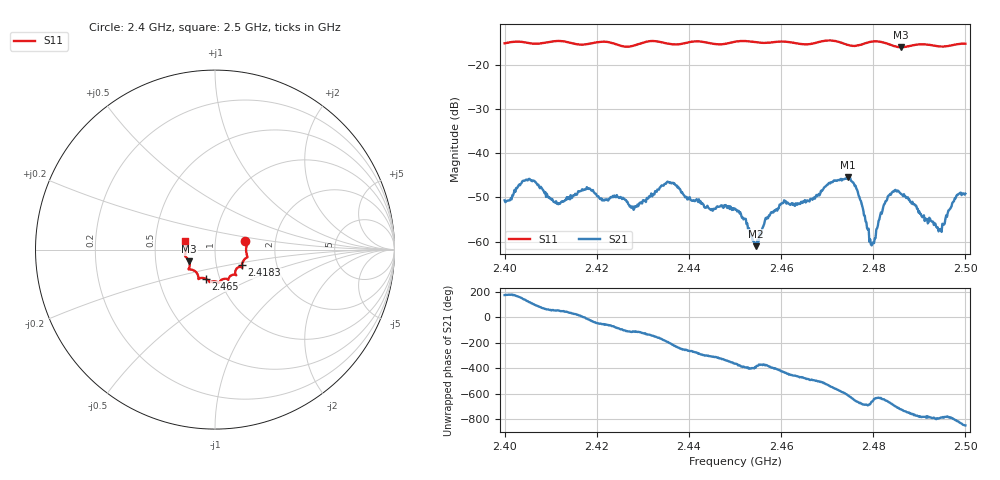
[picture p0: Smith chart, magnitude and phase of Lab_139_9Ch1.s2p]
# Hz S RI R 50
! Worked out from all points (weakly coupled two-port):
!   601 points, 2.4 GHz to 2.5 GHz, reference 50 ohm
!   highest |S21| = -45.47 dB at 2.4745 GHz (marker M1); lowest = -61.0 dB at 2.4545 GHz (marker M2)
!   lowest |S11| = -16.0 dB at 2.486 GHz (marker M3), VSWR 1.37, Z = 37.2 - j4.97 ohm
!   |S11| at or under -10 dB: start of sweep to end of sweep
!   S12 and S22 are empty: the file has one direction only
!   S11 on the Smith chart (normalised r, x): 2.4 GHz: 1.40, +0.13; 2.4183 GHz: 1.33, -0.24; 2.465 GHz: 0.86, -0.29; 2.5 GHz: 0.71, +0.07
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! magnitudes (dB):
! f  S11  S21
! 2.4 GHz  -15.1  -50.7
! 2.405 GHz  -15.0  -46.2
! 2.4115 GHz  -14.6  -51.3
! 2.4167 GHz  -15.4  -48.5
! 2.4183 GHz  -15.2  -48.0
! 2.4277 GHz  -15.8  -52.3
! 2.4333 GHz  -14.7  -48.2
! 2.436 GHz  -15.3  -46.6
! 2.4447 GHz  -15.1  -52.8
! 2.45 GHz  -14.8  -52.5
! 2.4545 GHz  -14.9  -61.0
! 2.4602 GHz  -14.7  -51.3
! 2.465 GHz  -15.4  -50.9
! 2.4667 GHz  -15.2  -50.4
! 2.4745 GHz  -15.5  -45.5
! 2.4767 GHz  -15.6  -48.8
! 2.4797 GHz  -14.8  -60.9
! 2.4833 GHz  -15.3  -49.6
! 2.486 GHz  -16.0  -49.2
! 2.4943 GHz  -15.8  -57.3
! 2.4982 GHz  -15.4  -49.4
! 2.5 GHz  -15.2  -49.2
